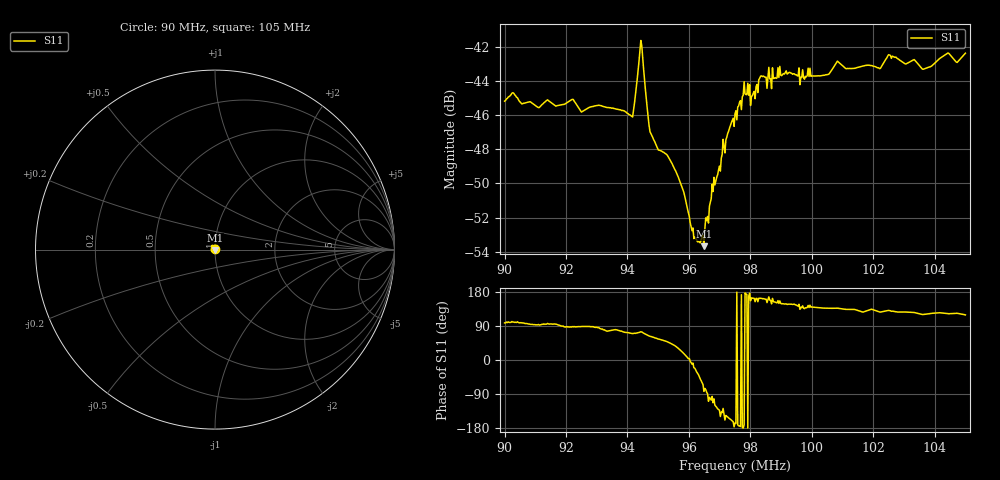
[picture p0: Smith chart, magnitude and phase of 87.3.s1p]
# HZ S RI R 50
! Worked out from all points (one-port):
!   505 points, 90 MHz to 105 MHz, reference 50 ohm
!   lowest |S11| = -53.7 dB at 96.49 MHz (marker M1), VSWR 1.00, Z = 50 - j0.205 ohm
!   |S11| at or under -10 dB: start of sweep to end of sweep
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9e7  -0.000757 0.00546
9.026786e7  -0.00102 0.00575
9.107143e7  -0.000253 0.00529
9.187501e7  6.32e-05 0.00539
9.375001e7  0.00116 0.00507
9.416668e7  0.00171 0.00465
9.443454e7  0.00221 0.00801
9.449406e7  0.00225 0.00706
9.467263e7  0.00213 0.00447
9.476192e7  0.00209 0.00391
9.562502e7  0.00282 0.00181
9.622026e7  0.00196 -0.000954
9.648812e7  0.000264 -0.00205
9.68155e7  -0.000718 -0.00322
9.732145e7  -0.00416 -0.00195
9.750002e7  -0.00492 -0.0012
9.779764e7  -0.00621 -0.000981
9.80655e7  -0.00548 0.00166
9.836312e7  -0.00625 0.00195
9.937503e7  -0.00552 0.00364
1.004762e8  -0.00479 0.00453
1.008631e8  -0.0052 0.00496
1.0125e8  -0.00473 0.00498
1.022024e8  -0.00412 0.0055
1.025e8  -0.00494 0.00571
1.03125e8  -0.00422 0.00575
1.036608e8  -0.00347 0.00591
1.05e8  -0.0037 0.00667
